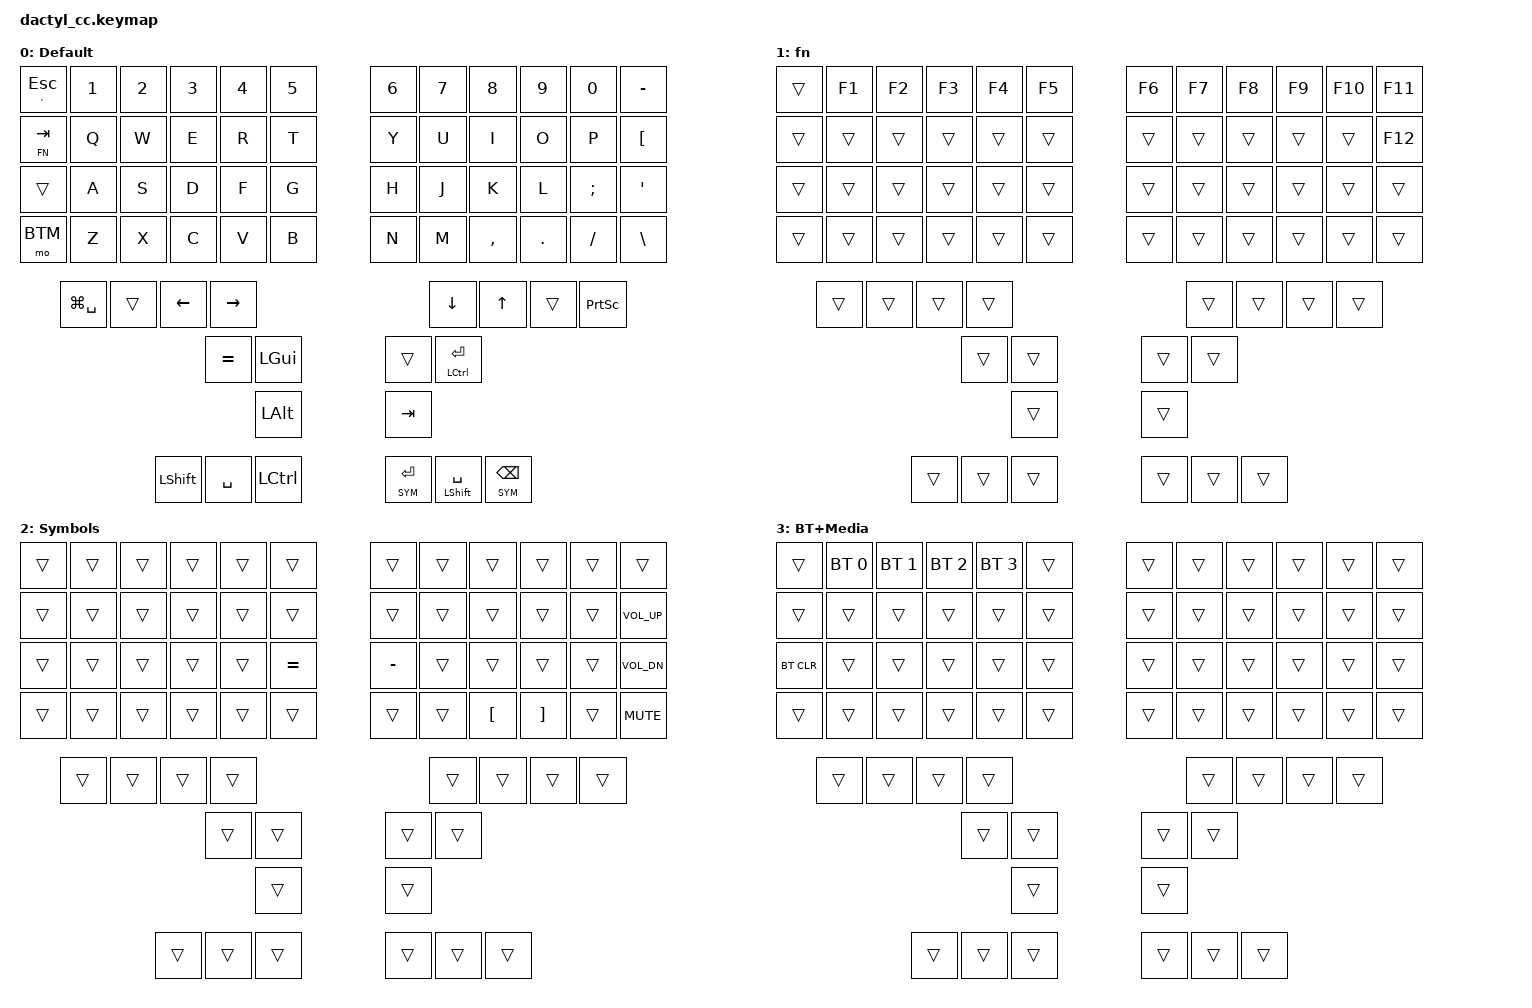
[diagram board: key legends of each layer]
#include <behaviors.dtsi>
#include <dt-bindings/zmk/keys.h>
#include <dt-bindings/zmk/bt.h>
#include <dt-bindings/zmk/outputs.h>

#define DEF 0
#define FN  1
#define SYM 2
#define BTM 3


&kscan0 {
       debounce-press-ms = <30>;
       debounce-release-ms = <30>;
};

/ {
    combos {
        compatible = "zmk,combos";

        combo_caps_word {
            timeout-ms = <50>;
            key-positions = <63 66>;
            bindings = <&caps_word>;
            layers = <0>;
        };
    };

    behaviors {
        /*
         * td_tap:
         * - tap: action 1
         * - hold: action 2
         * - tap+hold/chord: action 1
         */
        td_tap: td_tap_behavior {
            compatible = "zmk,behavior-hold-tap";
            #binding-cells = <2>;
            flavor = "tap-preferred";
            tapping-term-ms = <200>;
            quick-tap-ms = <200>;
            bindings = <&kp &kp>;
        };

        /*
         * td_hold:
         * - tap: action 1
         * - hold: action 2
         * - tap+hold/chord: action 2
         */
        td_hold: td_hold_behavior {
            compatible = "zmk,behavior-hold-tap";
            #binding-cells = <2>;
            flavor = "hold-preferred";
            tapping-term-ms = <200>;
            quick-tap-ms = <300>;
            bindings = <&mo &kp>;
        };
    };

    keymap {
        compatible = "zmk,keymap";

        default_layer {
            display-name = "Default";
            bindings = <
//                                    ╭────┬────┬────┬────┬────┬────╮   ╭────┬────┬────┬────┬────┬────╮
//                                    │ 00 │ 01 │ 02 │ 03 │ 04 │ 05 │   │ 06 │ 07 │ 08 │ 09 │ 10 │ 11 │
//                                    ╰────┴────┴────┴────┴────┴────╯   ╰────┴────┴────┴────┴────┴────╯
&td_tap GRAVE ESC    &kp N1      &kp N2      &kp N3      &kp N4      &kp N5      &kp N6      &kp N7      &kp N8      &kp N9      &kp N0      &kp MINUS
//                                    ╭────┬────┬────┬────┬────┬────╮   ╭────┬────┬────┬────┬────┬────╮
//                                    │ 12 │ 13 │ 14 │ 15 │ 16 │ 17 │   │ 18 │ 19 │ 20 │ 21 │ 22 │ 23 │
//                                    ╰────┴────┴────┴────┴────┴────╯   ╰────┴────┴────┴────┴────┴────╯
&td_hold FN TAB       &kp Q       &kp W       &kp E       &kp R       &kp T       &kp Y       &kp U       &kp I       &kp O       &kp P       &kp LBKT
//                                    ╭────┬────┬────┬────┬────┬────╮   ╭────┬────┬────┬────┬────┬────╮
//                                    │ 24 │ 25 │ 26 │ 27 │ 28 │ 29 │   │ 30 │ 31 │ 32 │ 33 │ 34 │ 35 │
//                                    ╰────┴────┴────┴────┴────┴────╯   ╰────┴────┴────┴────┴────┴────╯
&trans       &kp A       &kp S       &kp D       &kp F       &kp G       &kp H       &kp J       &kp K       &kp L       &kp SEMI    &kp SQT
//                                    ╭────┬────┬────┬────┬────┬────╮   ╭────┬────┬────┬────┬────┬────╮
//                                    │ 36 │ 37 │ 38 │ 39 │ 40 │ 41 │   │ 42 │ 43 │ 44 │ 45 │ 46 │ 47 │
//                                    ╰────┴────┴────┴────┴────┴────╯   ╰────┴────┴────┴────┴────┴────╯
&mo BTM      &kp Z       &kp X       &kp C       &kp V       &kp B       &kp N       &kp M       &kp COMMA   &kp DOT     &kp FSLH    &kp BSLH
//                                     ╭────┬────┬────┬────╮                     ╭────┬────┬────┬────╮
//                                     │ 48 │ 49 │ 50 │ 51 │                     │ 52 │ 53 │ 54 │ 55 │
//                                     ╰────┴────┴────┴────╯                     ╰────┴────┴────┴────╯
             &kp LG(SPACE) &trans    &kp LEFT    &kp RIGHT                            &kp DOWN    &kp UP      &trans      &kp PSCRN
//                                                          ╭────┬────┬────┬────╮
//                                                          │ 56 │ 57 │ 58 │ 59 │
//                                                          ╰────┴────┴────┴────╯
                                                &kp EQUAL   &kp LGUI    &trans      &mt LCTRL RET
//                                                               ╭────┬────╮
//                                                               │ 60 │ 61 │
//                                                               ╰────┴────╯
                                                            &kp LALT    &kp TAB
//                                                     ╭────┬────┬────┬────┬────┬────╮
//                                                     │ 62 │ 63 │ 64 │ 65 │ 66 │ 67 │
//                                                     ╰────┴────┴────┴────┴────┴────╯
                                     &kp LSHFT  &kp SPACE    &kp LCTRL   &lt SYM RET  &mt LSHIFT SPACE &td_hold SYM BSPC
            >;
        };

        fn_layer {
            display-name = "fn";
            bindings = <
//                                    ╭────┬────┬────┬────┬────┬────╮   ╭────┬────┬────┬────┬────┬────╮
//                                    │ 00 │ 01 │ 02 │ 03 │ 04 │ 05 │   │ 06 │ 07 │ 08 │ 09 │ 10 │ 11 │
//                                    ╰────┴────┴────┴────┴────┴────╯   ╰────┴────┴────┴────┴────┴────╯
&trans &kp F1 &kp F2 &kp F3 &kp F4 &kp F5 &kp F6 &kp F7 &kp F8 &kp F9 &kp F10 &kp F11
//                                    ╭────┬────┬────┬────┬────┬────╮   ╭────┬────┬────┬────┬────┬────╮
//                                    │ 12 │ 13 │ 14 │ 15 │ 16 │ 17 │   │ 18 │ 19 │ 20 │ 21 │ 22 │ 23 │
//                                    ╰────┴────┴────┴────┴────┴────╯   ╰────┴────┴────┴────┴────┴────╯
&trans &trans &trans &trans &trans &trans &trans &trans &trans &trans &trans &kp F12
//                                    ╭────┬────┬────┬────┬────┬────╮   ╭────┬────┬────┬────┬────┬────╮
//                                    │ 24 │ 25 │ 26 │ 27 │ 28 │ 29 │   │ 30 │ 31 │ 32 │ 33 │ 34 │ 35 │
//                                    ╰────┴────┴────┴────┴────┴────╯   ╰────┴────┴────┴────┴────┴────╯
&trans &trans &trans &trans &trans &trans &trans &trans &trans &trans &trans &trans
//                                    ╭────┬────┬────┬────┬────┬────╮   ╭────┬────┬────┬────┬────┬────╮
//                                    │ 36 │ 37 │ 38 │ 39 │ 40 │ 41 │   │ 42 │ 43 │ 44 │ 45 │ 46 │ 47 │
//                                    ╰────┴────┴────┴────┴────┴────╯   ╰────┴────┴────┴────┴────┴────╯
&trans &trans &trans &trans &trans &trans &trans &trans &trans &trans &trans &trans
//                                     ╭────┬────┬────┬────╮                     ╭────┬────┬────┬────╮
//                                     │ 48 │ 49 │ 50 │ 51 │                     │ 52 │ 53 │ 54 │ 55 │
//                                     ╰────┴────┴────┴────╯                     ╰────┴────┴────┴────╯
      &trans &trans &trans &trans                         &trans &trans &trans &trans
//                                                          ╭────┬────┬────┬────╮
//                                                          │ 56 │ 57 │ 58 │ 59 │
//                                                          ╰────┴────┴────┴────╯
                              &trans &trans &trans &trans
//                                                               ╭────┬────╮
//                                                               │ 60 │ 61 │
//                                                               ╰────┴────╯
                                          &trans &trans
//                                                     ╭────┬────┬────┬────┬────┬────╮
//                                                     │ 62 │ 63 │ 64 │ 65 │ 66 │ 67 │
//                                                     ╰────┴────┴────┴────┴────┴────╯
                   &trans &trans &trans &trans &trans &trans
            >;
        };

        symbols_layer {
            display-name = "Symbols";
            bindings = <
//                                    ╭────┬────┬────┬────┬────┬────╮   ╭────┬────┬────┬────┬────┬────╮
//                                    │ 00 │ 01 │ 02 │ 03 │ 04 │ 05 │   │ 06 │ 07 │ 08 │ 09 │ 10 │ 11 │
//                                    ╰────┴────┴────┴────┴────┴────╯   ╰────┴────┴────┴────┴────┴────╯
&trans &trans &trans &trans &trans &trans &trans &trans &trans &trans &trans &trans
//                                    ╭────┬────┬────┬────┬────┬────╮   ╭────┬────┬────┬────┬────┬────╮
//                                    │ 12 │ 13 │ 14 │ 15 │ 16 │ 17 │   │ 18 │ 19 │ 20 │ 21 │ 22 │ 23 │
//                                    ╰────┴────┴────┴────┴────┴────╯   ╰────┴────┴────┴────┴────┴────╯
&trans &trans &trans &trans &trans &trans &trans &trans &trans &trans &trans &kp C_VOL_UP
//                                    ╭────┬────┬────┬────┬────┬────╮   ╭────┬────┬────┬────┬────┬────╮
//                                    │ 24 │ 25 │ 26 │ 27 │ 28 │ 29 │   │ 30 │ 31 │ 32 │ 33 │ 34 │ 35 │
//                                    ╰────┴────┴────┴────┴────┴────╯   ╰────┴────┴────┴────┴────┴────╯
&trans &trans &trans &trans &trans &kp EQUAL &kp MINUS &trans &trans &trans &trans &kp C_VOL_DN
//                                    ╭────┬────┬────┬────┬────┬────╮   ╭────┬────┬────┬────┬────┬────╮
//                                    │ 36 │ 37 │ 38 │ 39 │ 40 │ 41 │   │ 42 │ 43 │ 44 │ 45 │ 46 │ 47 │
//                                    ╰────┴────┴────┴────┴────┴────╯   ╰────┴────┴────┴────┴────┴────╯
&trans &trans &trans &trans &trans &trans &trans &trans &kp LBKT &kp RBKT &trans &kp C_MUTE
//                                     ╭────┬────┬────┬────╮                     ╭────┬────┬────┬────╮
//                                     │ 48 │ 49 │ 50 │ 51 │                     │ 52 │ 53 │ 54 │ 55 │
//                                     ╰────┴────┴────┴────╯                     ╰────┴────┴────┴────╯
      &trans &trans &trans &trans                         &trans &trans &trans &trans
//                                                          ╭────┬────┬────┬────╮
//                                                          │ 56 │ 57 │ 58 │ 59 │
//                                                          ╰────┴────┴────┴────╯
                              &trans &trans &trans &trans
//                                                               ╭────┬────╮
//                                                               │ 60 │ 61 │
//                                                               ╰────┴────╯
                                          &trans &trans
//                                                     ╭────┬────┬────┬────┬────┬────╮
//                                                     │ 62 │ 63 │ 64 │ 65 │ 66 │ 67 │
//                                                     ╰────┴────┴────┴────┴────┴────╯
                   &trans &trans &trans &trans &trans &trans
            >;
        };

        bt_media_layer {
            display-name = "BT+Media";
            bindings = <
//                                    ╭────┬────┬────┬────┬────┬────╮   ╭────┬────┬────┬────┬────┬────╮
//                                    │ 00 │ 01 │ 02 │ 03 │ 04 │ 05 │   │ 06 │ 07 │ 08 │ 09 │ 10 │ 11 │
//                                    ╰────┴────┴────┴────┴────┴────╯   ╰────┴────┴────┴────┴────┴────╯
&trans &bt BT_SEL 0 &bt BT_SEL 1 &bt BT_SEL 2 &bt BT_SEL 3 &trans &trans &trans &trans &trans &trans &trans
//                                    ╭────┬────┬────┬────┬────┬────╮   ╭────┬────┬────┬────┬────┬────╮
//                                    │ 12 │ 13 │ 14 │ 15 │ 16 │ 17 │   │ 18 │ 19 │ 20 │ 21 │ 22 │ 23 │
//                                    ╰────┴────┴────┴────┴────┴────╯   ╰────┴────┴────┴────┴────┴────╯
&trans &trans &trans &trans &trans &trans &trans &trans &trans &trans &trans &trans
//                                    ╭────┬────┬────┬────┬────┬────╮   ╭────┬────┬────┬────┬────┬────╮
//                                    │ 24 │ 25 │ 26 │ 27 │ 28 │ 29 │   │ 30 │ 31 │ 32 │ 33 │ 34 │ 35 │
//                                    ╰────┴────┴────┴────┴────┴────╯   ╰────┴────┴────┴────┴────┴────╯
&bt BT_CLR &trans &trans &trans &trans &trans &trans &trans &trans &trans &trans &trans
//                                    ╭────┬────┬────┬────┬────┬────╮   ╭────┬────┬────┬────┬────┬────╮
//                                    │ 36 │ 37 │ 38 │ 39 │ 40 │ 41 │   │ 42 │ 43 │ 44 │ 45 │ 46 │ 47 │
//                                    ╰────┴────┴────┴────┴────┴────╯   ╰────┴────┴────┴────┴────┴────╯
&trans &trans &trans &trans &trans &trans &trans &trans &trans &trans &trans &trans
//                                     ╭────┬────┬────┬────╮                     ╭────┬────┬────┬────╮
//                                     │ 48 │ 49 │ 50 │ 51 │                     │ 52 │ 53 │ 54 │ 55 │
//                                     ╰────┴────┴────┴────╯                     ╰────┴────┴────┴────╯
      &trans &trans &trans &trans                         &trans &trans &trans &trans
//                                                          ╭────┬────┬────┬────╮
//                                                          │ 56 │ 57 │ 58 │ 59 │
//                                                          ╰────┴────┴────┴────╯
                              &trans &trans &trans &trans
//                                                               ╭────┬────╮
//                                                               │ 60 │ 61 │
//                                                               ╰────┴────╯
                                          &trans &trans
//                                                     ╭────┬────┬────┬────┬────┬────╮
//                                                     │ 62 │ 63 │ 64 │ 65 │ 66 │ 67 │
//                                                     ╰────┴────┴────┴────┴────┴────╯
                   &trans &trans &trans &trans &trans &trans
            >;
        };
    };
};
